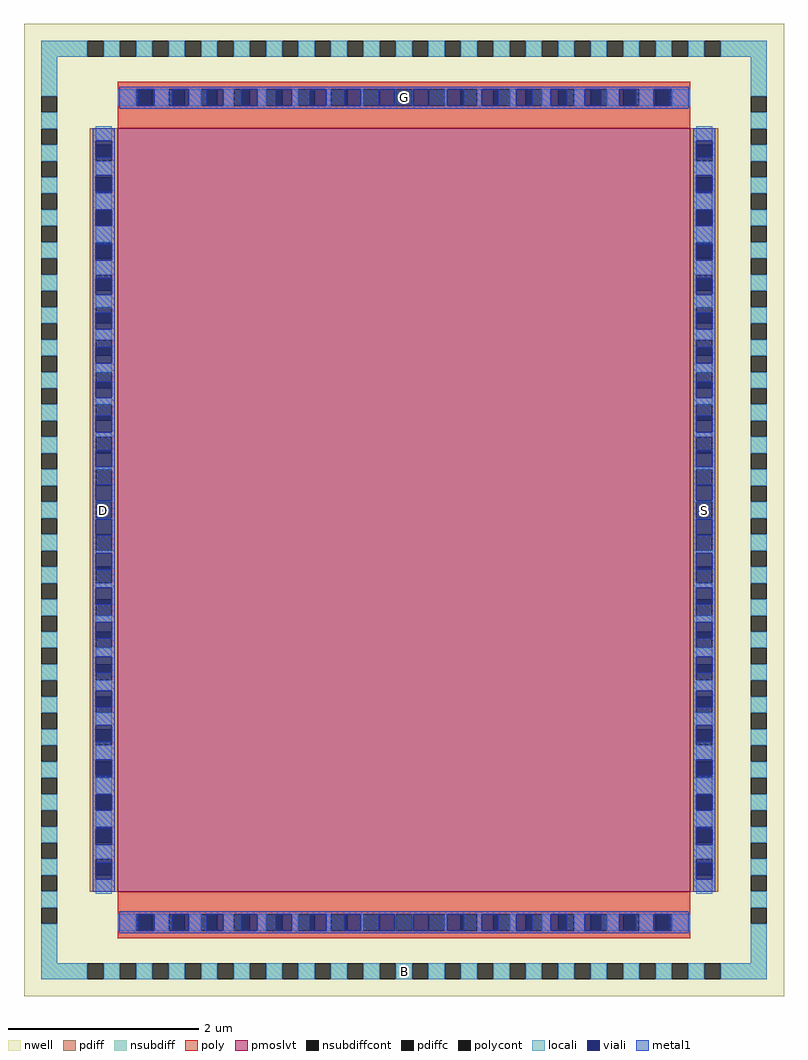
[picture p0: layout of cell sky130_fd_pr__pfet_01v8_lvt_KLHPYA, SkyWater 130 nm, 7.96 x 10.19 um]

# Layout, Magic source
magic
tech sky130A
magscale 1 2
<< nwell >>
rect -796 -1019 796 1019
<< pmoslvt >>
rect -600 -800 600 800
<< pdiff >>
rect -658 765 -600 800
rect -658 731 -646 765
rect -612 731 -600 765
rect -658 697 -600 731
rect -658 663 -646 697
rect -612 663 -600 697
rect -658 629 -600 663
rect -658 595 -646 629
rect -612 595 -600 629
rect -658 561 -600 595
rect -658 527 -646 561
rect -612 527 -600 561
rect -658 493 -600 527
rect -658 459 -646 493
rect -612 459 -600 493
rect -658 425 -600 459
rect -658 391 -646 425
rect -612 391 -600 425
rect -658 357 -600 391
rect -658 323 -646 357
rect -612 323 -600 357
rect -658 289 -600 323
rect -658 255 -646 289
rect -612 255 -600 289
rect -658 221 -600 255
rect -658 187 -646 221
rect -612 187 -600 221
rect -658 153 -600 187
rect -658 119 -646 153
rect -612 119 -600 153
rect -658 85 -600 119
rect -658 51 -646 85
rect -612 51 -600 85
rect -658 17 -600 51
rect -658 -17 -646 17
rect -612 -17 -600 17
rect -658 -51 -600 -17
rect -658 -85 -646 -51
rect -612 -85 -600 -51
rect -658 -119 -600 -85
rect -658 -153 -646 -119
rect -612 -153 -600 -119
rect -658 -187 -600 -153
rect -658 -221 -646 -187
rect -612 -221 -600 -187
rect -658 -255 -600 -221
rect -658 -289 -646 -255
rect -612 -289 -600 -255
rect -658 -323 -600 -289
rect -658 -357 -646 -323
rect -612 -357 -600 -323
rect -658 -391 -600 -357
rect -658 -425 -646 -391
rect -612 -425 -600 -391
rect -658 -459 -600 -425
rect -658 -493 -646 -459
rect -612 -493 -600 -459
rect -658 -527 -600 -493
rect -658 -561 -646 -527
rect -612 -561 -600 -527
rect -658 -595 -600 -561
rect -658 -629 -646 -595
rect -612 -629 -600 -595
rect -658 -663 -600 -629
rect -658 -697 -646 -663
rect -612 -697 -600 -663
rect -658 -731 -600 -697
rect -658 -765 -646 -731
rect -612 -765 -600 -731
rect -658 -800 -600 -765
rect 600 765 658 800
rect 600 731 612 765
rect 646 731 658 765
rect 600 697 658 731
rect 600 663 612 697
rect 646 663 658 697
rect 600 629 658 663
rect 600 595 612 629
rect 646 595 658 629
rect 600 561 658 595
rect 600 527 612 561
rect 646 527 658 561
rect 600 493 658 527
rect 600 459 612 493
rect 646 459 658 493
rect 600 425 658 459
rect 600 391 612 425
rect 646 391 658 425
rect 600 357 658 391
rect 600 323 612 357
rect 646 323 658 357
rect 600 289 658 323
rect 600 255 612 289
rect 646 255 658 289
rect 600 221 658 255
rect 600 187 612 221
rect 646 187 658 221
rect 600 153 658 187
rect 600 119 612 153
rect 646 119 658 153
rect 600 85 658 119
rect 600 51 612 85
rect 646 51 658 85
rect 600 17 658 51
rect 600 -17 612 17
rect 646 -17 658 17
rect 600 -51 658 -17
rect 600 -85 612 -51
rect 646 -85 658 -51
rect 600 -119 658 -85
rect 600 -153 612 -119
rect 646 -153 658 -119
rect 600 -187 658 -153
rect 600 -221 612 -187
rect 646 -221 658 -187
rect 600 -255 658 -221
rect 600 -289 612 -255
rect 646 -289 658 -255
rect 600 -323 658 -289
rect 600 -357 612 -323
rect 646 -357 658 -323
rect 600 -391 658 -357
rect 600 -425 612 -391
rect 646 -425 658 -391
rect 600 -459 658 -425
rect 600 -493 612 -459
rect 646 -493 658 -459
rect 600 -527 658 -493
rect 600 -561 612 -527
rect 646 -561 658 -527
rect 600 -595 658 -561
rect 600 -629 612 -595
rect 646 -629 658 -595
rect 600 -663 658 -629
rect 600 -697 612 -663
rect 646 -697 658 -663
rect 600 -731 658 -697
rect 600 -765 612 -731
rect 646 -765 658 -731
rect 600 -800 658 -765
<< pdiffc >>
rect -646 731 -612 765
rect -646 663 -612 697
rect -646 595 -612 629
rect -646 527 -612 561
rect -646 459 -612 493
rect -646 391 -612 425
rect -646 323 -612 357
rect -646 255 -612 289
rect -646 187 -612 221
rect -646 119 -612 153
rect -646 51 -612 85
rect -646 -17 -612 17
rect -646 -85 -612 -51
rect -646 -153 -612 -119
rect -646 -221 -612 -187
rect -646 -289 -612 -255
rect -646 -357 -612 -323
rect -646 -425 -612 -391
rect -646 -493 -612 -459
rect -646 -561 -612 -527
rect -646 -629 -612 -595
rect -646 -697 -612 -663
rect -646 -765 -612 -731
rect 612 731 646 765
rect 612 663 646 697
rect 612 595 646 629
rect 612 527 646 561
rect 612 459 646 493
rect 612 391 646 425
rect 612 323 646 357
rect 612 255 646 289
rect 612 187 646 221
rect 612 119 646 153
rect 612 51 646 85
rect 612 -17 646 17
rect 612 -85 646 -51
rect 612 -153 646 -119
rect 612 -221 646 -187
rect 612 -289 646 -255
rect 612 -357 646 -323
rect 612 -425 646 -391
rect 612 -493 646 -459
rect 612 -561 646 -527
rect 612 -629 646 -595
rect 612 -697 646 -663
rect 612 -765 646 -731
<< nsubdiff >>
rect -760 949 -663 983
rect -629 949 -595 983
rect -561 949 -527 983
rect -493 949 -459 983
rect -425 949 -391 983
rect -357 949 -323 983
rect -289 949 -255 983
rect -221 949 -187 983
rect -153 949 -119 983
rect -85 949 -51 983
rect -17 949 17 983
rect 51 949 85 983
rect 119 949 153 983
rect 187 949 221 983
rect 255 949 289 983
rect 323 949 357 983
rect 391 949 425 983
rect 459 949 493 983
rect 527 949 561 983
rect 595 949 629 983
rect 663 949 760 983
rect -760 867 -726 949
rect -760 799 -726 833
rect 726 867 760 949
rect -760 731 -726 765
rect -760 663 -726 697
rect -760 595 -726 629
rect -760 527 -726 561
rect -760 459 -726 493
rect -760 391 -726 425
rect -760 323 -726 357
rect -760 255 -726 289
rect -760 187 -726 221
rect -760 119 -726 153
rect -760 51 -726 85
rect -760 -17 -726 17
rect -760 -85 -726 -51
rect -760 -153 -726 -119
rect -760 -221 -726 -187
rect -760 -289 -726 -255
rect -760 -357 -726 -323
rect -760 -425 -726 -391
rect -760 -493 -726 -459
rect -760 -561 -726 -527
rect -760 -629 -726 -595
rect -760 -697 -726 -663
rect -760 -765 -726 -731
rect -760 -833 -726 -799
rect 726 799 760 833
rect 726 731 760 765
rect 726 663 760 697
rect 726 595 760 629
rect 726 527 760 561
rect 726 459 760 493
rect 726 391 760 425
rect 726 323 760 357
rect 726 255 760 289
rect 726 187 760 221
rect 726 119 760 153
rect 726 51 760 85
rect 726 -17 760 17
rect 726 -85 760 -51
rect 726 -153 760 -119
rect 726 -221 760 -187
rect 726 -289 760 -255
rect 726 -357 760 -323
rect 726 -425 760 -391
rect 726 -493 760 -459
rect 726 -561 760 -527
rect 726 -629 760 -595
rect 726 -697 760 -663
rect 726 -765 760 -731
rect -760 -949 -726 -867
rect 726 -833 760 -799
rect 726 -949 760 -867
rect -760 -983 -663 -949
rect -629 -983 -595 -949
rect -561 -983 -527 -949
rect -493 -983 -459 -949
rect -425 -983 -391 -949
rect -357 -983 -323 -949
rect -289 -983 -255 -949
rect -221 -983 -187 -949
rect -153 -983 -119 -949
rect -85 -983 -51 -949
rect -17 -983 17 -949
rect 51 -983 85 -949
rect 119 -983 153 -949
rect 187 -983 221 -949
rect 255 -983 289 -949
rect 323 -983 357 -949
rect 391 -983 425 -949
rect 459 -983 493 -949
rect 527 -983 561 -949
rect 595 -983 629 -949
rect 663 -983 760 -949
<< nsubdiffcont >>
rect -663 949 -629 983
rect -595 949 -561 983
rect -527 949 -493 983
rect -459 949 -425 983
rect -391 949 -357 983
rect -323 949 -289 983
rect -255 949 -221 983
rect -187 949 -153 983
rect -119 949 -85 983
rect -51 949 -17 983
rect 17 949 51 983
rect 85 949 119 983
rect 153 949 187 983
rect 221 949 255 983
rect 289 949 323 983
rect 357 949 391 983
rect 425 949 459 983
rect 493 949 527 983
rect 561 949 595 983
rect 629 949 663 983
rect -760 833 -726 867
rect 726 833 760 867
rect -760 765 -726 799
rect -760 697 -726 731
rect -760 629 -726 663
rect -760 561 -726 595
rect -760 493 -726 527
rect -760 425 -726 459
rect -760 357 -726 391
rect -760 289 -726 323
rect -760 221 -726 255
rect -760 153 -726 187
rect -760 85 -726 119
rect -760 17 -726 51
rect -760 -51 -726 -17
rect -760 -119 -726 -85
rect -760 -187 -726 -153
rect -760 -255 -726 -221
rect -760 -323 -726 -289
rect -760 -391 -726 -357
rect -760 -459 -726 -425
rect -760 -527 -726 -493
rect -760 -595 -726 -561
rect -760 -663 -726 -629
rect -760 -731 -726 -697
rect -760 -799 -726 -765
rect 726 765 760 799
rect 726 697 760 731
rect 726 629 760 663
rect 726 561 760 595
rect 726 493 760 527
rect 726 425 760 459
rect 726 357 760 391
rect 726 289 760 323
rect 726 221 760 255
rect 726 153 760 187
rect 726 85 760 119
rect 726 17 760 51
rect 726 -51 760 -17
rect 726 -119 760 -85
rect 726 -187 760 -153
rect 726 -255 760 -221
rect 726 -323 760 -289
rect 726 -391 760 -357
rect 726 -459 760 -425
rect 726 -527 760 -493
rect 726 -595 760 -561
rect 726 -663 760 -629
rect 726 -731 760 -697
rect 726 -799 760 -765
rect -760 -867 -726 -833
rect 726 -867 760 -833
rect -663 -983 -629 -949
rect -595 -983 -561 -949
rect -527 -983 -493 -949
rect -459 -983 -425 -949
rect -391 -983 -357 -949
rect -323 -983 -289 -949
rect -255 -983 -221 -949
rect -187 -983 -153 -949
rect -119 -983 -85 -949
rect -51 -983 -17 -949
rect 17 -983 51 -949
rect 85 -983 119 -949
rect 153 -983 187 -949
rect 221 -983 255 -949
rect 289 -983 323 -949
rect 357 -983 391 -949
rect 425 -983 459 -949
rect 493 -983 527 -949
rect 561 -983 595 -949
rect 629 -983 663 -949
<< poly >>
rect -600 881 600 897
rect -600 847 -561 881
rect -527 847 -493 881
rect -459 847 -425 881
rect -391 847 -357 881
rect -323 847 -289 881
rect -255 847 -221 881
rect -187 847 -153 881
rect -119 847 -85 881
rect -51 847 -17 881
rect 17 847 51 881
rect 85 847 119 881
rect 153 847 187 881
rect 221 847 255 881
rect 289 847 323 881
rect 357 847 391 881
rect 425 847 459 881
rect 493 847 527 881
rect 561 847 600 881
rect -600 800 600 847
rect -600 -847 600 -800
rect -600 -881 -561 -847
rect -527 -881 -493 -847
rect -459 -881 -425 -847
rect -391 -881 -357 -847
rect -323 -881 -289 -847
rect -255 -881 -221 -847
rect -187 -881 -153 -847
rect -119 -881 -85 -847
rect -51 -881 -17 -847
rect 17 -881 51 -847
rect 85 -881 119 -847
rect 153 -881 187 -847
rect 221 -881 255 -847
rect 289 -881 323 -847
rect 357 -881 391 -847
rect 425 -881 459 -847
rect 493 -881 527 -847
rect 561 -881 600 -847
rect -600 -897 600 -881
<< polycont >>
rect -561 847 -527 881
rect -493 847 -459 881
rect -425 847 -391 881
rect -357 847 -323 881
rect -289 847 -255 881
rect -221 847 -187 881
rect -153 847 -119 881
rect -85 847 -51 881
rect -17 847 17 881
rect 51 847 85 881
rect 119 847 153 881
rect 187 847 221 881
rect 255 847 289 881
rect 323 847 357 881
rect 391 847 425 881
rect 459 847 493 881
rect 527 847 561 881
rect -561 -881 -527 -847
rect -493 -881 -459 -847
rect -425 -881 -391 -847
rect -357 -881 -323 -847
rect -289 -881 -255 -847
rect -221 -881 -187 -847
rect -153 -881 -119 -847
rect -85 -881 -51 -847
rect -17 -881 17 -847
rect 51 -881 85 -847
rect 119 -881 153 -847
rect 187 -881 221 -847
rect 255 -881 289 -847
rect 323 -881 357 -847
rect 391 -881 425 -847
rect 459 -881 493 -847
rect 527 -881 561 -847
<< locali >>
rect -760 949 -663 983
rect -629 949 -595 983
rect -561 949 -527 983
rect -493 949 -459 983
rect -425 949 -391 983
rect -357 949 -323 983
rect -289 949 -255 983
rect -221 949 -187 983
rect -153 949 -119 983
rect -85 949 -51 983
rect -17 949 17 983
rect 51 949 85 983
rect 119 949 153 983
rect 187 949 221 983
rect 255 949 289 983
rect 323 949 357 983
rect 391 949 425 983
rect 459 949 493 983
rect 527 949 561 983
rect 595 949 629 983
rect 663 949 760 983
rect -760 867 -726 949
rect -600 847 -561 881
rect -523 847 -493 881
rect -451 847 -425 881
rect -379 847 -357 881
rect -307 847 -289 881
rect -235 847 -221 881
rect -163 847 -153 881
rect -91 847 -85 881
rect -19 847 -17 881
rect 17 847 19 881
rect 85 847 91 881
rect 153 847 163 881
rect 221 847 235 881
rect 289 847 307 881
rect 357 847 379 881
rect 425 847 451 881
rect 493 847 523 881
rect 561 847 600 881
rect 726 867 760 949
rect -760 799 -726 833
rect -760 731 -726 765
rect -760 663 -726 697
rect -760 595 -726 629
rect -760 527 -726 561
rect -760 459 -726 493
rect -760 391 -726 425
rect -760 323 -726 357
rect -760 255 -726 289
rect -760 187 -726 221
rect -760 119 -726 153
rect -760 51 -726 85
rect -760 -17 -726 17
rect -760 -85 -726 -51
rect -760 -153 -726 -119
rect -760 -221 -726 -187
rect -760 -289 -726 -255
rect -760 -357 -726 -323
rect -760 -425 -726 -391
rect -760 -493 -726 -459
rect -760 -561 -726 -527
rect -760 -629 -726 -595
rect -760 -697 -726 -663
rect -760 -765 -726 -731
rect -760 -833 -726 -799
rect -646 773 -612 804
rect -646 701 -612 731
rect -646 629 -612 663
rect -646 561 -612 595
rect -646 493 -612 523
rect -646 425 -612 451
rect -646 357 -612 379
rect -646 289 -612 307
rect -646 221 -612 235
rect -646 153 -612 163
rect -646 85 -612 91
rect -646 17 -612 19
rect -646 -19 -612 -17
rect -646 -91 -612 -85
rect -646 -163 -612 -153
rect -646 -235 -612 -221
rect -646 -307 -612 -289
rect -646 -379 -612 -357
rect -646 -451 -612 -425
rect -646 -523 -612 -493
rect -646 -595 -612 -561
rect -646 -663 -612 -629
rect -646 -731 -612 -701
rect -646 -804 -612 -773
rect 612 773 646 804
rect 612 701 646 731
rect 612 629 646 663
rect 612 561 646 595
rect 612 493 646 523
rect 612 425 646 451
rect 612 357 646 379
rect 612 289 646 307
rect 612 221 646 235
rect 612 153 646 163
rect 612 85 646 91
rect 612 17 646 19
rect 612 -19 646 -17
rect 612 -91 646 -85
rect 612 -163 646 -153
rect 612 -235 646 -221
rect 612 -307 646 -289
rect 612 -379 646 -357
rect 612 -451 646 -425
rect 612 -523 646 -493
rect 612 -595 646 -561
rect 612 -663 646 -629
rect 612 -731 646 -701
rect 612 -804 646 -773
rect 726 799 760 833
rect 726 731 760 765
rect 726 663 760 697
rect 726 595 760 629
rect 726 527 760 561
rect 726 459 760 493
rect 726 391 760 425
rect 726 323 760 357
rect 726 255 760 289
rect 726 187 760 221
rect 726 119 760 153
rect 726 51 760 85
rect 726 -17 760 17
rect 726 -85 760 -51
rect 726 -153 760 -119
rect 726 -221 760 -187
rect 726 -289 760 -255
rect 726 -357 760 -323
rect 726 -425 760 -391
rect 726 -493 760 -459
rect 726 -561 760 -527
rect 726 -629 760 -595
rect 726 -697 760 -663
rect 726 -765 760 -731
rect 726 -833 760 -799
rect -760 -949 -726 -867
rect -600 -881 -561 -847
rect -523 -881 -493 -847
rect -451 -881 -425 -847
rect -379 -881 -357 -847
rect -307 -881 -289 -847
rect -235 -881 -221 -847
rect -163 -881 -153 -847
rect -91 -881 -85 -847
rect -19 -881 -17 -847
rect 17 -881 19 -847
rect 85 -881 91 -847
rect 153 -881 163 -847
rect 221 -881 235 -847
rect 289 -881 307 -847
rect 357 -881 379 -847
rect 425 -881 451 -847
rect 493 -881 523 -847
rect 561 -881 600 -847
rect 726 -949 760 -867
rect -760 -983 -663 -949
rect -629 -983 -595 -949
rect -561 -983 -527 -949
rect -493 -983 -459 -949
rect -425 -983 -391 -949
rect -357 -983 -323 -949
rect -289 -983 -255 -949
rect -221 -983 -187 -949
rect -153 -983 -119 -949
rect -85 -983 -51 -949
rect -17 -983 17 -949
rect 51 -983 85 -949
rect 119 -983 153 -949
rect 187 -983 221 -949
rect 255 -983 289 -949
rect 323 -983 357 -949
rect 391 -983 425 -949
rect 459 -983 493 -949
rect 527 -983 561 -949
rect 595 -983 629 -949
rect 663 -983 760 -949
<< viali >>
rect -557 847 -527 881
rect -527 847 -523 881
rect -485 847 -459 881
rect -459 847 -451 881
rect -413 847 -391 881
rect -391 847 -379 881
rect -341 847 -323 881
rect -323 847 -307 881
rect -269 847 -255 881
rect -255 847 -235 881
rect -197 847 -187 881
rect -187 847 -163 881
rect -125 847 -119 881
rect -119 847 -91 881
rect -53 847 -51 881
rect -51 847 -19 881
rect 19 847 51 881
rect 51 847 53 881
rect 91 847 119 881
rect 119 847 125 881
rect 163 847 187 881
rect 187 847 197 881
rect 235 847 255 881
rect 255 847 269 881
rect 307 847 323 881
rect 323 847 341 881
rect 379 847 391 881
rect 391 847 413 881
rect 451 847 459 881
rect 459 847 485 881
rect 523 847 527 881
rect 527 847 557 881
rect -646 765 -612 773
rect -646 739 -612 765
rect -646 697 -612 701
rect -646 667 -612 697
rect -646 595 -612 629
rect -646 527 -612 557
rect -646 523 -612 527
rect -646 459 -612 485
rect -646 451 -612 459
rect -646 391 -612 413
rect -646 379 -612 391
rect -646 323 -612 341
rect -646 307 -612 323
rect -646 255 -612 269
rect -646 235 -612 255
rect -646 187 -612 197
rect -646 163 -612 187
rect -646 119 -612 125
rect -646 91 -612 119
rect -646 51 -612 53
rect -646 19 -612 51
rect -646 -51 -612 -19
rect -646 -53 -612 -51
rect -646 -119 -612 -91
rect -646 -125 -612 -119
rect -646 -187 -612 -163
rect -646 -197 -612 -187
rect -646 -255 -612 -235
rect -646 -269 -612 -255
rect -646 -323 -612 -307
rect -646 -341 -612 -323
rect -646 -391 -612 -379
rect -646 -413 -612 -391
rect -646 -459 -612 -451
rect -646 -485 -612 -459
rect -646 -527 -612 -523
rect -646 -557 -612 -527
rect -646 -629 -612 -595
rect -646 -697 -612 -667
rect -646 -701 -612 -697
rect -646 -765 -612 -739
rect -646 -773 -612 -765
rect 612 765 646 773
rect 612 739 646 765
rect 612 697 646 701
rect 612 667 646 697
rect 612 595 646 629
rect 612 527 646 557
rect 612 523 646 527
rect 612 459 646 485
rect 612 451 646 459
rect 612 391 646 413
rect 612 379 646 391
rect 612 323 646 341
rect 612 307 646 323
rect 612 255 646 269
rect 612 235 646 255
rect 612 187 646 197
rect 612 163 646 187
rect 612 119 646 125
rect 612 91 646 119
rect 612 51 646 53
rect 612 19 646 51
rect 612 -51 646 -19
rect 612 -53 646 -51
rect 612 -119 646 -91
rect 612 -125 646 -119
rect 612 -187 646 -163
rect 612 -197 646 -187
rect 612 -255 646 -235
rect 612 -269 646 -255
rect 612 -323 646 -307
rect 612 -341 646 -323
rect 612 -391 646 -379
rect 612 -413 646 -391
rect 612 -459 646 -451
rect 612 -485 646 -459
rect 612 -527 646 -523
rect 612 -557 646 -527
rect 612 -629 646 -595
rect 612 -697 646 -667
rect 612 -701 646 -697
rect 612 -765 646 -739
rect 612 -773 646 -765
rect -557 -881 -527 -847
rect -527 -881 -523 -847
rect -485 -881 -459 -847
rect -459 -881 -451 -847
rect -413 -881 -391 -847
rect -391 -881 -379 -847
rect -341 -881 -323 -847
rect -323 -881 -307 -847
rect -269 -881 -255 -847
rect -255 -881 -235 -847
rect -197 -881 -187 -847
rect -187 -881 -163 -847
rect -125 -881 -119 -847
rect -119 -881 -91 -847
rect -53 -881 -51 -847
rect -51 -881 -19 -847
rect 19 -881 51 -847
rect 51 -881 53 -847
rect 91 -881 119 -847
rect 119 -881 125 -847
rect 163 -881 187 -847
rect 187 -881 197 -847
rect 235 -881 255 -847
rect 255 -881 269 -847
rect 307 -881 323 -847
rect 323 -881 341 -847
rect 379 -881 391 -847
rect 391 -881 413 -847
rect 451 -881 459 -847
rect 459 -881 485 -847
rect 523 -881 527 -847
rect 527 -881 557 -847
<< metal1 >>
rect -596 881 596 887
rect -596 847 -557 881
rect -523 847 -485 881
rect -451 847 -413 881
rect -379 847 -341 881
rect -307 847 -269 881
rect -235 847 -197 881
rect -163 847 -125 881
rect -91 847 -53 881
rect -19 847 19 881
rect 53 847 91 881
rect 125 847 163 881
rect 197 847 235 881
rect 269 847 307 881
rect 341 847 379 881
rect 413 847 451 881
rect 485 847 523 881
rect 557 847 596 881
rect -596 841 596 847
rect -652 773 -606 800
rect -652 739 -646 773
rect -612 739 -606 773
rect -652 701 -606 739
rect -652 667 -646 701
rect -612 667 -606 701
rect -652 629 -606 667
rect -652 595 -646 629
rect -612 595 -606 629
rect -652 557 -606 595
rect -652 523 -646 557
rect -612 523 -606 557
rect -652 485 -606 523
rect -652 451 -646 485
rect -612 451 -606 485
rect -652 413 -606 451
rect -652 379 -646 413
rect -612 379 -606 413
rect -652 341 -606 379
rect -652 307 -646 341
rect -612 307 -606 341
rect -652 269 -606 307
rect -652 235 -646 269
rect -612 235 -606 269
rect -652 197 -606 235
rect -652 163 -646 197
rect -612 163 -606 197
rect -652 125 -606 163
rect -652 91 -646 125
rect -612 91 -606 125
rect -652 53 -606 91
rect -652 19 -646 53
rect -612 19 -606 53
rect -652 -19 -606 19
rect -652 -53 -646 -19
rect -612 -53 -606 -19
rect -652 -91 -606 -53
rect -652 -125 -646 -91
rect -612 -125 -606 -91
rect -652 -163 -606 -125
rect -652 -197 -646 -163
rect -612 -197 -606 -163
rect -652 -235 -606 -197
rect -652 -269 -646 -235
rect -612 -269 -606 -235
rect -652 -307 -606 -269
rect -652 -341 -646 -307
rect -612 -341 -606 -307
rect -652 -379 -606 -341
rect -652 -413 -646 -379
rect -612 -413 -606 -379
rect -652 -451 -606 -413
rect -652 -485 -646 -451
rect -612 -485 -606 -451
rect -652 -523 -606 -485
rect -652 -557 -646 -523
rect -612 -557 -606 -523
rect -652 -595 -606 -557
rect -652 -629 -646 -595
rect -612 -629 -606 -595
rect -652 -667 -606 -629
rect -652 -701 -646 -667
rect -612 -701 -606 -667
rect -652 -739 -606 -701
rect -652 -773 -646 -739
rect -612 -773 -606 -739
rect -652 -800 -606 -773
rect 606 773 652 800
rect 606 739 612 773
rect 646 739 652 773
rect 606 701 652 739
rect 606 667 612 701
rect 646 667 652 701
rect 606 629 652 667
rect 606 595 612 629
rect 646 595 652 629
rect 606 557 652 595
rect 606 523 612 557
rect 646 523 652 557
rect 606 485 652 523
rect 606 451 612 485
rect 646 451 652 485
rect 606 413 652 451
rect 606 379 612 413
rect 646 379 652 413
rect 606 341 652 379
rect 606 307 612 341
rect 646 307 652 341
rect 606 269 652 307
rect 606 235 612 269
rect 646 235 652 269
rect 606 197 652 235
rect 606 163 612 197
rect 646 163 652 197
rect 606 125 652 163
rect 606 91 612 125
rect 646 91 652 125
rect 606 53 652 91
rect 606 19 612 53
rect 646 19 652 53
rect 606 -19 652 19
rect 606 -53 612 -19
rect 646 -53 652 -19
rect 606 -91 652 -53
rect 606 -125 612 -91
rect 646 -125 652 -91
rect 606 -163 652 -125
rect 606 -197 612 -163
rect 646 -197 652 -163
rect 606 -235 652 -197
rect 606 -269 612 -235
rect 646 -269 652 -235
rect 606 -307 652 -269
rect 606 -341 612 -307
rect 646 -341 652 -307
rect 606 -379 652 -341
rect 606 -413 612 -379
rect 646 -413 652 -379
rect 606 -451 652 -413
rect 606 -485 612 -451
rect 646 -485 652 -451
rect 606 -523 652 -485
rect 606 -557 612 -523
rect 646 -557 652 -523
rect 606 -595 652 -557
rect 606 -629 612 -595
rect 646 -629 652 -595
rect 606 -667 652 -629
rect 606 -701 612 -667
rect 646 -701 652 -667
rect 606 -739 652 -701
rect 606 -773 612 -739
rect 646 -773 652 -739
rect 606 -800 652 -773
rect -596 -847 596 -841
rect -596 -881 -557 -847
rect -523 -881 -485 -847
rect -451 -881 -413 -847
rect -379 -881 -341 -847
rect -307 -881 -269 -847
rect -235 -881 -197 -847
rect -163 -881 -125 -847
rect -91 -881 -53 -847
rect -19 -881 19 -847
rect 53 -881 91 -847
rect 125 -881 163 -847
rect 197 -881 235 -847
rect 269 -881 307 -847
rect 341 -881 379 -847
rect 413 -881 451 -847
rect 485 -881 523 -847
rect 557 -881 596 -847
rect -596 -887 596 -881
<< labels >>
rlabel locali s 0 -966 0 -966 4 B
rlabel locali s -629 0 -629 0 4 D
rlabel locali s 629 0 629 0 4 S
rlabel locali s 0 864 0 864 4 G
<< properties >>
string FIXED_BBOX -743 -966 743 966
<< end >>
